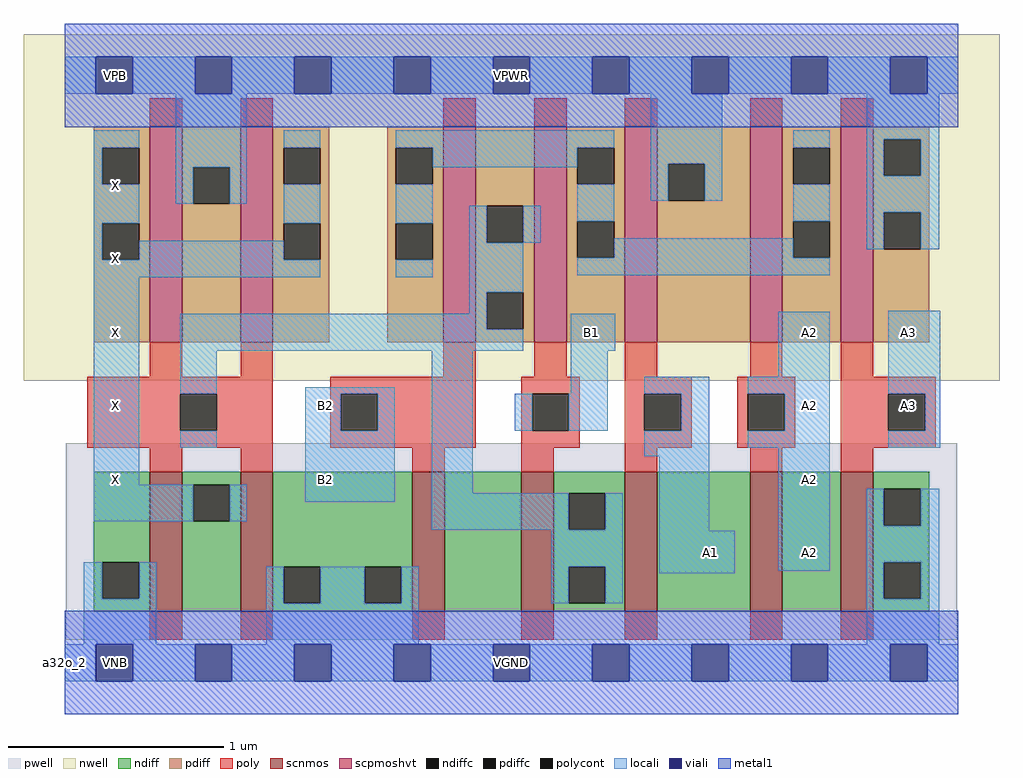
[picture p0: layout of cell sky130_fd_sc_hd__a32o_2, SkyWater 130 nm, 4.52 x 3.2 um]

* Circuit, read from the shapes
.subckt sky130_fd_sc_hd__a32o_2 A1 A2 A3 B1 B2 VGND VNB VPB VPWR X
XM1 X n1 VGND VNB sky130_fd_pr__nfet_01v8 w=0.65 l=0.15 m=2
XM2 n2 B2 VGND VNB sky130_fd_pr__nfet_01v8 w=0.65 l=0.15
XM3 n1 B1 n2 VNB sky130_fd_pr__nfet_01v8 w=0.65 l=0.15
XM4 n3 A1 n1 VNB sky130_fd_pr__nfet_01v8 w=0.65 l=0.15
XM5 n4 A2 n3 VNB sky130_fd_pr__nfet_01v8 w=0.65 l=0.15
XM6 VGND A3 n4 VNB sky130_fd_pr__nfet_01v8 w=0.65 l=0.15
XM7 VPWR n1 X VPB sky130_fd_pr__pfet_01v8_hvt w=1 l=0.15 m=2
XM8 n1 B2 n5 VPB sky130_fd_pr__pfet_01v8_hvt w=1 l=0.15
XM9 n5 B1 n1 VPB sky130_fd_pr__pfet_01v8_hvt w=1 l=0.15
XM10 VPWR A1 n5 VPB sky130_fd_pr__pfet_01v8_hvt w=1 l=0.15
XM11 n5 A2 VPWR VPB sky130_fd_pr__pfet_01v8_hvt w=1 l=0.15
XM12 VPWR A3 n5 VPB sky130_fd_pr__pfet_01v8_hvt w=1 l=0.15
.ends

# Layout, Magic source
magic
tech sky130A
magscale 1 2
<< nwell >>
rect -38 261 866 582
<< pwell >>
rect 1 21 827 203
rect 30 -17 64 21
<< scnmos >>
rect 79 47 109 177
rect 163 47 193 177
rect 322 47 352 177
rect 423 47 453 177
rect 519 47 549 177
rect 635 47 665 177
rect 719 47 749 177
<< scpmoshvt >>
rect 79 297 109 497
rect 163 297 193 497
rect 351 297 381 497
rect 435 297 465 497
rect 519 297 549 497
rect 635 297 665 497
rect 719 297 749 497
<< ndiff >>
rect 27 93 79 177
rect 27 59 35 93
rect 69 59 79 93
rect 27 47 79 59
rect 109 165 163 177
rect 109 131 119 165
rect 153 131 163 165
rect 109 47 163 131
rect 193 89 322 177
rect 193 55 203 89
rect 237 55 278 89
rect 312 55 322 89
rect 193 47 322 55
rect 352 47 423 177
rect 453 157 519 177
rect 453 123 467 157
rect 501 123 519 157
rect 453 89 519 123
rect 453 55 467 89
rect 501 55 519 89
rect 453 47 519 55
rect 549 47 635 177
rect 665 47 719 177
rect 749 161 801 177
rect 749 127 759 161
rect 793 127 801 161
rect 749 93 801 127
rect 749 59 759 93
rect 793 59 801 93
rect 749 47 801 59
<< pdiff >>
rect 27 477 79 497
rect 27 443 35 477
rect 69 443 79 477
rect 27 407 79 443
rect 27 373 35 407
rect 69 373 79 407
rect 27 297 79 373
rect 109 459 163 497
rect 109 425 119 459
rect 153 425 163 459
rect 109 297 163 425
rect 193 477 245 497
rect 193 443 203 477
rect 237 443 245 477
rect 193 407 245 443
rect 193 373 203 407
rect 237 373 245 407
rect 193 297 245 373
rect 299 477 351 497
rect 299 443 307 477
rect 341 443 351 477
rect 299 407 351 443
rect 299 373 307 407
rect 341 373 351 407
rect 299 297 351 373
rect 381 423 435 497
rect 381 389 391 423
rect 425 389 435 423
rect 381 343 435 389
rect 381 309 391 343
rect 425 309 435 343
rect 381 297 435 309
rect 465 477 519 497
rect 465 443 475 477
rect 509 443 519 477
rect 465 409 519 443
rect 465 375 475 409
rect 509 375 519 409
rect 465 297 519 375
rect 549 462 635 497
rect 549 428 559 462
rect 593 428 635 462
rect 549 297 635 428
rect 665 477 719 497
rect 665 443 675 477
rect 709 443 719 477
rect 665 409 719 443
rect 665 375 675 409
rect 709 375 719 409
rect 665 297 719 375
rect 749 485 801 497
rect 749 451 759 485
rect 793 451 801 485
rect 749 417 801 451
rect 749 383 759 417
rect 793 383 801 417
rect 749 297 801 383
<< ndiffc >>
rect 35 59 69 93
rect 119 131 153 165
rect 203 55 237 89
rect 278 55 312 89
rect 467 123 501 157
rect 467 55 501 89
rect 759 127 793 161
rect 759 59 793 93
<< pdiffc >>
rect 35 443 69 477
rect 35 373 69 407
rect 119 425 153 459
rect 203 443 237 477
rect 203 373 237 407
rect 307 443 341 477
rect 307 373 341 407
rect 391 389 425 423
rect 391 309 425 343
rect 475 443 509 477
rect 475 375 509 409
rect 559 428 593 462
rect 675 443 709 477
rect 675 375 709 409
rect 759 451 793 485
rect 759 383 793 417
<< poly >>
rect 79 497 109 523
rect 163 497 193 523
rect 351 497 381 523
rect 435 497 465 523
rect 519 497 549 523
rect 635 497 665 523
rect 719 497 749 523
rect 79 265 109 297
rect 163 265 193 297
rect 351 265 381 297
rect 435 265 465 297
rect 519 265 549 297
rect 635 265 665 297
rect 719 265 749 297
rect 21 249 193 265
rect 21 215 107 249
rect 141 215 193 249
rect 21 199 193 215
rect 246 249 381 265
rect 246 215 256 249
rect 290 215 381 249
rect 246 199 381 215
rect 423 249 477 265
rect 423 215 433 249
rect 467 215 477 249
rect 423 199 477 215
rect 519 249 581 265
rect 519 215 537 249
rect 571 215 581 249
rect 519 199 581 215
rect 623 249 677 265
rect 623 215 633 249
rect 667 215 677 249
rect 623 199 677 215
rect 719 249 807 265
rect 719 215 763 249
rect 797 215 807 249
rect 719 199 807 215
rect 79 177 109 199
rect 163 177 193 199
rect 322 177 352 199
rect 423 177 453 199
rect 519 177 549 199
rect 635 177 665 199
rect 719 177 749 199
rect 79 21 109 47
rect 163 21 193 47
rect 322 21 352 47
rect 423 21 453 47
rect 519 21 549 47
rect 635 21 665 47
rect 719 21 749 47
<< polycont >>
rect 107 215 141 249
rect 256 215 290 249
rect 433 215 467 249
rect 537 215 571 249
rect 633 215 667 249
rect 763 215 797 249
<< locali >>
rect 0 527 29 561
rect 63 527 121 561
rect 155 527 213 561
rect 247 527 305 561
rect 339 527 397 561
rect 431 527 489 561
rect 523 527 581 561
rect 615 527 673 561
rect 707 527 765 561
rect 799 527 828 561
rect 27 477 69 493
rect 27 443 35 477
rect 27 407 69 443
rect 103 459 169 527
rect 103 425 119 459
rect 153 425 169 459
rect 203 477 237 493
rect 27 373 35 407
rect 203 407 237 443
rect 69 373 203 391
rect 27 357 237 373
rect 307 477 509 493
rect 341 459 475 477
rect 307 407 341 443
rect 307 357 341 373
rect 375 389 391 423
rect 425 389 441 423
rect 475 409 509 443
rect 543 462 609 527
rect 543 428 559 462
rect 593 428 609 462
rect 675 477 709 493
rect 27 165 69 357
rect 375 343 425 389
rect 675 409 709 443
rect 509 375 675 393
rect 743 485 810 527
rect 743 451 759 485
rect 793 451 810 485
rect 743 417 810 451
rect 743 383 759 417
rect 793 383 810 417
rect 475 359 709 375
rect 375 323 391 343
rect 107 309 391 323
rect 107 289 425 309
rect 469 289 510 323
rect 107 249 141 289
rect 107 199 141 215
rect 223 249 306 255
rect 223 215 256 249
rect 290 215 306 249
rect 27 131 119 165
rect 153 131 169 165
rect 223 149 306 215
rect 340 157 378 289
rect 469 249 503 289
rect 661 265 709 325
rect 417 215 433 249
rect 467 215 503 249
rect 537 249 597 265
rect 571 215 597 249
rect 537 191 597 215
rect 633 249 709 265
rect 667 215 709 249
rect 633 199 709 215
rect 763 249 811 326
rect 797 215 811 249
rect 763 199 811 215
rect 340 123 467 157
rect 501 123 517 157
rect 18 59 35 93
rect 69 59 85 93
rect 451 89 517 123
rect 18 17 85 59
rect 187 55 203 89
rect 237 55 278 89
rect 312 55 328 89
rect 451 55 467 89
rect 501 55 517 89
rect 551 122 597 191
rect 551 83 621 122
rect 661 85 709 199
rect 743 127 759 161
rect 793 127 810 161
rect 743 93 810 127
rect 743 59 759 93
rect 793 59 810 93
rect 187 17 328 55
rect 743 17 810 59
rect 0 -17 29 17
rect 63 -17 121 17
rect 155 -17 213 17
rect 247 -17 305 17
rect 339 -17 397 17
rect 431 -17 489 17
rect 523 -17 581 17
rect 615 -17 673 17
rect 707 -17 765 17
rect 799 -17 828 17
<< viali >>
rect 29 527 63 561
rect 121 527 155 561
rect 213 527 247 561
rect 305 527 339 561
rect 397 527 431 561
rect 489 527 523 561
rect 581 527 615 561
rect 673 527 707 561
rect 765 527 799 561
rect 29 -17 63 17
rect 121 -17 155 17
rect 213 -17 247 17
rect 305 -17 339 17
rect 397 -17 431 17
rect 489 -17 523 17
rect 581 -17 615 17
rect 673 -17 707 17
rect 765 -17 799 17
<< metal1 >>
rect 0 561 828 592
rect 0 527 29 561
rect 63 527 121 561
rect 155 527 213 561
rect 247 527 305 561
rect 339 527 397 561
rect 431 527 489 561
rect 523 527 581 561
rect 615 527 673 561
rect 707 527 765 561
rect 799 527 828 561
rect 0 496 828 527
rect 0 17 828 48
rect 0 -17 29 17
rect 63 -17 121 17
rect 155 -17 213 17
rect 247 -17 305 17
rect 339 -17 397 17
rect 431 -17 489 17
rect 523 -17 581 17
rect 615 -17 673 17
rect 707 -17 765 17
rect 799 -17 828 17
rect 0 -48 828 -17
<< labels >>
flabel locali s 225 153 259 187 0 FreeSans 200 0 0 0 B2
port 5 nsew signal input
flabel locali s 30 289 64 323 0 FreeSans 200 0 0 0 X
port 10 nsew signal output
flabel locali s 673 85 707 119 0 FreeSans 200 0 0 0 A2
port 2 nsew signal input
flabel locali s 673 153 707 187 0 FreeSans 200 0 0 0 A2
port 2 nsew signal input
flabel locali s 765 289 799 323 0 FreeSans 200 0 0 0 A3
port 3 nsew signal input
flabel locali s 673 221 707 255 0 FreeSans 200 0 0 0 A2
port 2 nsew signal input
flabel locali s 673 289 707 323 0 FreeSans 200 0 0 0 A2
port 2 nsew signal input
flabel locali s 765 221 799 255 0 FreeSans 200 0 0 0 A3
port 3 nsew signal input
flabel locali s 581 85 615 119 0 FreeSans 200 0 0 0 A1
port 1 nsew signal input
flabel locali s 30 221 64 255 0 FreeSans 200 0 0 0 X
port 10 nsew signal output
flabel locali s 30 425 64 459 0 FreeSans 200 0 0 0 X
port 10 nsew signal output
flabel locali s 30 357 64 391 0 FreeSans 200 0 0 0 X
port 10 nsew signal output
flabel locali s 225 221 259 255 0 FreeSans 200 0 0 0 B2
port 5 nsew signal input
flabel locali s 471 289 505 323 0 FreeSans 200 0 0 0 B1
port 4 nsew signal input
flabel locali s 30 153 64 187 0 FreeSans 200 0 0 0 X
port 10 nsew signal output
flabel pwell s 30 -17 64 17 0 FreeSans 200 0 0 0 VNB
port 7 nsew ground bidirectional
flabel nwell s 30 527 64 561 0 FreeSans 200 0 0 0 VPB
port 8 nsew power bidirectional
flabel metal1 s 30 -17 64 17 0 FreeSans 200 0 0 0 VGND
port 6 nsew ground bidirectional abutment
flabel metal1 s 30 527 64 561 0 FreeSans 200 0 0 0 VPWR
port 9 nsew power bidirectional abutment
rlabel comment s 0 0 0 0 4 a32o_2
rlabel metal1 s 0 -48 828 48 1 VGND
port 6 nsew ground bidirectional abutment
rlabel metal1 s 0 496 828 592 1 VPWR
port 9 nsew power bidirectional abutment
<< properties >>
string FIXED_BBOX 0 0 828 544
string GDS_END 4165214
string GDS_FILE $PDKPATH/libs.ref/sky130_fd_sc_hd/gds/sky130_fd_sc_hd.gds
string GDS_START 4156832
string LEFclass CORE
string LEFsite unithd
string LEFsymmetry X Y R90
string path 0.000 0.000 20.700 0.000 
<< end >>
